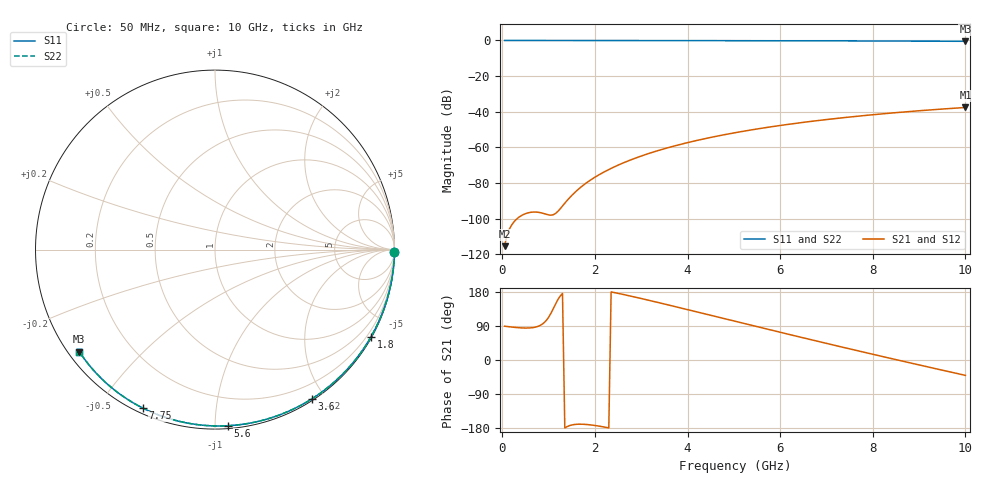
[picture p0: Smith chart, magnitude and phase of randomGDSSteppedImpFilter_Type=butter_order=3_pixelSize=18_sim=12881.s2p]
! freq	dB(S11)	phase(S11)	dB(S12)	phase(S12)
!  dB(S21)	phase(S21)	dB(S22)	phase(S22)
!S-par simulation data
#  GHz  S  DB  R 50
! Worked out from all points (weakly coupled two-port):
!   200 points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, 50 MHz to 10 GHz, reference 50 ohm
!   highest |S21| = -37.60 dB at 10 GHz (marker M1); lowest = -115.4 dB at 50 MHz (marker M2)
!   lowest |S11| = -0.5 dB at 10 GHz (marker M3), VSWR 36.13, Z = 1.54 - j16.7 ohm
!   |S11| at or under -10 dB: nowhere
!   |S22| runs from -0.5 to 0.0 dB; largest |S21 - S12| = 0
!   S11 on the Smith chart (normalised r, x): 50 MHz: open; 1.8 GHz: 0.03, -3.83; 3.6 GHz: 0.02, -1.84; 5.6 GHz: 0.02, -1.07; 7.75 GHz: 0.02, -0.64; 10 GHz: 0.03, -0.33
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0.05  -0.00 -0.8  -115.40 89.2  -115.40 89.2  -0.00 -0.8
0.45  -0.01 -7.4  -97.72 84.5  -97.72 84.5  -0.01 -7.4
0.9  -0.02 -14.8  -97.12 98.1  -97.12 98.1  -0.02 -14.8
1.3  -0.03 -21.2  -92.84 175.5  -92.84 175.5  -0.03 -21.2
1.75  -0.04 -28.5  -81.18 -169.6  -81.18 -169.6  -0.04 -28.5
1.8  -0.04 -29.3  -80.20 -170.0  -80.20 -170.0  -0.04 -29.3
2.15  -0.04 -34.8  -74.45 -175.7  -74.45 -175.7  -0.04 -34.8
2.35  -0.05 -37.9  -71.76 179.7  -71.76 179.7  -0.05 -37.9
2.55  -0.05 -41.1  -69.37 174.6  -69.37 174.6  -0.05 -41.1
2.95  -0.06 -47.3  -65.30 163.7  -65.30 163.7  -0.06 -47.3
3.4  -0.07 -54.1  -61.49 150.7  -61.49 150.7  -0.07 -54.1
3.6  -0.08 -57.1  -60.00 144.8  -60.00 144.8  -0.08 -57.1
4.3  -0.09 -67.5  -55.51 124.0  -55.51 124.0  -0.09 -67.5
5.05  -0.12 -78.2  -51.64 101.5  -51.64 101.5  -0.12 -78.2
5.6  -0.14 -85.9  -49.25 85.1  -49.25 85.1  -0.14 -85.9
6.15  -0.17 -93.4  -47.15 68.7  -47.15 68.7  -0.17 -93.4
6.7  -0.19 -100.7  -45.29 52.6  -45.29 52.6  -0.19 -100.7
7.2  -0.22 -107.3  -43.78 38.0  -43.78 38.0  -0.22 -107.3
7.75  -0.26 -114.4  -42.29 22.2  -42.29 22.2  -0.26 -114.4
8.35  -0.31 -122.1  -40.84 5.2  -40.84 5.2  -0.31 -122.1
9.2  -0.39 -132.9  -39.04 -18.6  -39.04 -18.6  -0.39 -132.9
10  -0.48 -143.1  -37.60 -40.5  -37.60 -40.5  -0.48 -143.1
